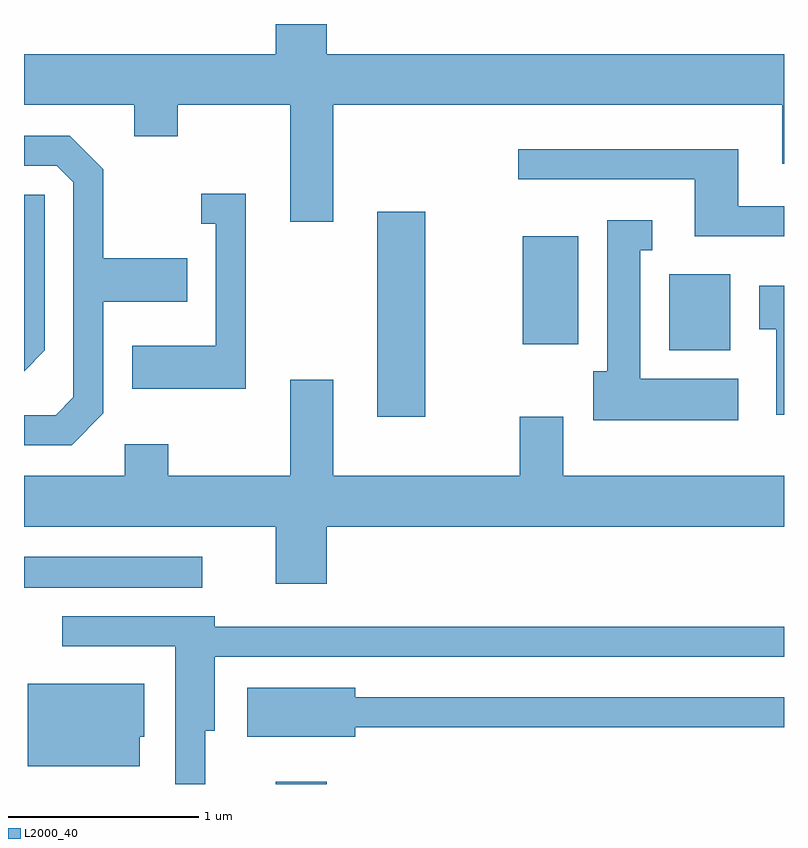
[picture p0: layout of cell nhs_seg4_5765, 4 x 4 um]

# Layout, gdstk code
import gdstk
lib = gdstk.Library(unit=1e-6, precision=1e-09)
def R(c, l, rs):  # rectangles x0, y0, x1, y1
    for r in rs: c.add(gdstk.rectangle(r[:2], r[2:], *l))
def P(c, l, *ps):  # polygons
    for p in ps: c.add(gdstk.Polygon(p, *l))
L2000_40 = (2000, 40)

nhs_seg4_5765 = lib.new_cell('nhs_seg4_5765')
R(nhs_seg4_5765, L2000_40, [(354.936,1359.982,355.204,1359.994), (353.611,1361.016,354.548,1361.179), (355.471,1361.916,355.724,1362.994), (357.006,1362.266,357.329,1362.664), (356.236,1362.296,356.529,1362.864)])
P(nhs_seg4_5765, L2000_40, [(355.239,1363.556),(357.601,1363.556),(357.601,1363.246),(357.611,1363.246),(357.611,1363.824),(355.204,1363.824),(355.204,1363.982),(354.936,1363.982),(354.936,1363.824),(353.611,1363.824),(353.611,1363.556),(354.191,1363.556),(354.191,1363.391),(354.419,1363.391),(354.419,1363.556),(355.011,1363.556),(355.011,1362.941),(355.239,1362.941)],
  [(354.029,1361.934),(354.029,1362.521),(354.469,1362.521),(354.469,1362.749),(354.029,1362.749),(354.029,1363.217),(353.852,1363.394),(353.611,1363.394),(353.611,1363.236),(353.784,1363.236),(353.871,1363.149),(353.871,1362.017),(353.779,1361.924),(353.611,1361.924),(353.611,1361.766),(353.862,1361.766)],
  [(357.611,1363.024),(357.369,1363.024),(357.369,1363.324),(356.213,1363.324),(356.213,1363.166),(357.141,1363.166),(357.141,1362.866),(357.611,1362.866)],
  [(354.779,1363.089),(354.543,1363.089),(354.543,1362.931),(354.621,1362.931),(354.621,1362.289),(354.181,1362.289),(354.181,1362.061),(354.779,1362.061)],
  [(353.719,1362.264),(353.719,1363.084),(353.611,1363.084),(353.611,1362.155)],
  [(357.369,1362.114),(356.854,1362.114),(356.854,1362.791),(356.918,1362.791),(356.918,1362.949),(356.681,1362.949),(356.681,1362.154),(356.606,1362.154),(356.606,1361.896),(357.369,1361.896)],
  [(357.611,1362.604),(357.481,1362.604),(357.481,1362.376),(357.571,1362.376),(357.571,1361.926),(357.611,1361.926)],
  [(355.204,1361.336),(357.611,1361.336),(357.611,1361.604),(356.449,1361.604),(356.449,1361.914),(356.221,1361.914),(356.221,1361.604),(355.239,1361.604),(355.239,1362.109),(355.011,1362.109),(355.011,1361.604),(354.369,1361.604),(354.369,1361.769),(354.141,1361.769),(354.141,1361.604),(353.611,1361.604),(353.611,1361.336),(354.936,1361.336),(354.936,1361.036),(355.204,1361.036)],
  [(354.564,1360.261),(354.614,1360.261),(354.614,1360.651),(357.611,1360.651),(357.611,1360.809),(354.614,1360.809),(354.614,1360.864),(353.813,1360.864),(353.813,1360.706),(354.406,1360.706),(354.406,1359.982),(354.564,1359.982)],
  [(354.219,1360.231),(354.244,1360.231),(354.244,1360.509),(353.631,1360.509),(353.631,1360.076),(354.219,1360.076)],
  [(355.354,1360.281),(357.611,1360.281),(357.611,1360.439),(355.354,1360.439),(355.354,1360.489),(354.786,1360.489),(354.786,1360.231),(355.354,1360.231)])

lib.write_gds('nhs_seg4_5765.gds')
